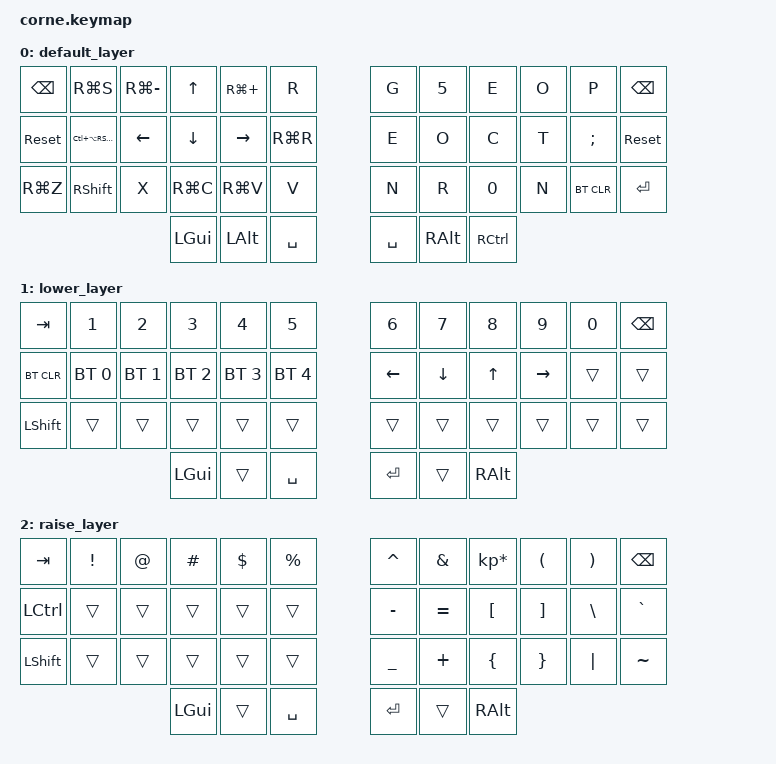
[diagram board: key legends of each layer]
/*
 * Copyright (c) 2020 The ZMK Contributors
 *
 * SPDX-License-Identifier: MIT
 */

#include <behaviors.dtsi>
#include <dt-bindings/zmk/keys.h>
#include <dt-bindings/zmk/bt.h>

/ {
        keymap {
                compatible = "zmk,keymap";

                default_layer {
// -----------------------------------------------------------------------------------------
// |  TAB |  Q  |  W  |  E  |  R  |  T  |   |  Y  |  U   |  I  |  O  |  P  | BKSP |
// | CTRL |  A  |  S  |  D  |  F  |  G  |   |  H  |  J   |  K  |  L  |  ;  |  '   |
// | SHFT |  Z  |  X  |  C  |  V  |  B  |   |  N  |  M   |  ,  |  .  |  /  | ESC  |
//                    | GUI | LWR | SPC |   | ENT | RSE  | ALT |
                        bindings = <
   &kp BSPC   &kp RG(S) &kp RG(MINUS) &kp UP &kp RG(PLUS) &kp R   &kp G &kp N5  &kp E     &kp O   &kp P    &kp BSPC
   &sys_reset &kp LC(LA(RSHFT)) &kp LEFT &kp DOWN &kp RIGHT &kp RG(R)   &kp E &kp O  &kp C     &kp T   &kp SEMI &sys_reset 
   &kp RG(Z) &kp RSHFT &kp X &kp RG(C) &kp RG(V) &kp V   &kp N &kp R  &kp N0 &kp N &bt BT_CLR &kp ENTER
                  &kp LGUI &kp LALT &kp SPACE   &kp SPACE &kp RALT &kp RCTRL
                        >;
                };
                lower_layer {
// -----------------------------------------------------------------------------------------
// |  TAB |  1  |  2  |  3  |  4  |  5  |   |  6  |  7  |  8  |  9  |  0  | BKSP |
// | BTCLR| BT1 | BT2 | BT3 | BT4 | BT5 |   | LFT | DWN |  UP | RGT |     |      |
// | SHFT |     |     |     |     |     |   |     |     |     |     |     |      |
//                    | GUI |     | SPC |   | ENT |     | ALT |
                        bindings = <
   &kp TAB    &kp N1       &kp N2       &kp N3       &kp N4       &kp N5         &kp N6   &kp N7   &kp N8 &kp N9    &kp N0 &kp BSPC
   &bt BT_CLR &bt BT_SEL 0 &bt BT_SEL 1 &bt BT_SEL 2 &bt BT_SEL 3 &bt BT_SEL 4   &kp LEFT &kp DOWN &kp UP &kp RIGHT &trans &trans
   &kp LSHFT  &trans       &trans       &trans       &trans       &trans         &trans   &trans   &trans &trans    &trans &trans
                                    &kp LGUI     &trans       &kp SPACE      &kp RET  &trans   &kp RALT
                        >;
                };

                raise_layer {
// -----------------------------------------------------------------------------------------
// |  TAB |  !  |  @  |  #  |  $  |  %  |   |  ^  |  &  |  *  |  (  |  )  | BKSP |
// | CTRL |     |     |     |     |     |   |  -  |  =  |  [  |  ]  |  \  |  `   |
// | SHFT |     |     |     |     |     |   |  _  |  +  |  {  |  }  | "|" |  ~   |
//                    | GUI |     | SPC |   | ENT |     | ALT |
                        bindings = <
   &kp  TAB  &kp EXCL &kp AT &kp HASH &kp DLLR &kp PRCNT   &kp CARET &kp AMPS  &kp KP_MULTIPLY &kp LPAR &kp RPAR &kp BSPC
   &kp LCTRL &trans   &trans &trans   &trans   &trans      &kp MINUS &kp EQUAL &kp LBKT        &kp RBKT &kp BSLH &kp GRAVE
   &kp LSHFT &trans   &trans &trans   &trans   &trans      &kp UNDER &kp PLUS  &kp LBRC        &kp RBRC &kp PIPE &kp TILDE
                             &kp LGUI &trans   &kp SPACE   &kp RET   &trans    &kp RALT
                        >;
                };
        };
};
